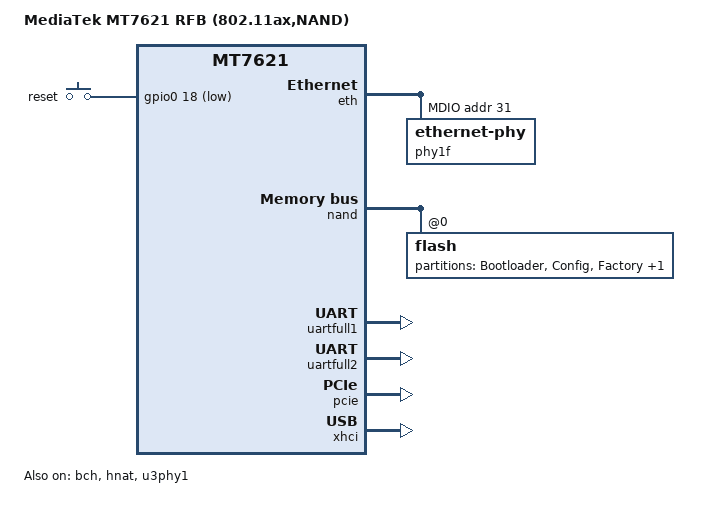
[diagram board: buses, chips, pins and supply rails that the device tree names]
/dts-v1/;

#include "mt7621.dtsi"
#include <dt-bindings/input/input.h>

/ {
	compatible = "mediatek,mt7621-rfb-ax-nand", "mediatek,mt7621-soc";
	model = "MediaTek MT7621 RFB (802.11ax,NAND)";

	chosen {
		bootargs = "console=ttyS0,115200";
	};

	gpio-keys-polled {
		compatible = "gpio-keys-polled";
		#address-cells = <1>;
		#size-cells = <0>;
		poll-interval = <20>;

		reset {
			label = "reset";
			gpios = <&gpio0 18 1>;
			linux,code = <KEY_RESTART>;
		};
	};
};

&bch {
	status = "okay";
};

&eth {
        status = "okay";

        gmac0: mac@0 {
                compatible = "mediatek,eth-mac";
                reg = <0>;
                phy-mode = "trgmii";
                fixed-link {
                        speed = <1000>;
                        full-duplex;
                        pause;
                };
        };

        gmac1: mac@1 {
                compatible = "mediatek,eth-mac";
                reg = <1>;
                phy-mode = "rgmii";
                fixed-link {
                        speed = <1000>;
                        full-duplex;
                        pause;
                };
        };

        mdio: mdio-bus {
                #address-cells = <1>;
                #size-cells = <0>;

                phy1f: ethernet-phy@1f {
                        reg = <0x1f>;
                        phy-mode = "rgmii";
                };
        };
};

&gsw {
        mediatek,mdio = <&mdio>;
        mediatek,portmap = "llllw";
        mediatek,mcm;
	mt7530,direct-phy-access;

        resets = <&rstctrl 2>;
        reset-names = "mcm";

        port5: port@5 {
                compatible = "mediatek,mt753x-port";
                reg = <5>;
                phy-mode = "rgmii";
                fixed-link {
                        speed = <1000>;
                        full-duplex;
                };
        };

        port6: port@6 {
                compatible = "mediatek,mt753x-port";
                reg = <6>;
                phy-mode = "trgmii";
                fixed-link {
                        speed = <1000>;
                        full-duplex;
                };
        };

        mdio-bus {
                #address-cells = <1>;
                #size-cells = <0>;
        };
};

&hnat {
        mtketh-wan = "eth1";
        mtketh-ppd = "eth0";
	ext-devices = "rax0", "ra0", "rax1", "ra1", "rax2", "ra2", "rax3", "ra3", "apclix0", "apcli0";
        mtketh-max-gmac = <2>;
        status = "okay";
};

&nand {
	status = "okay";

	flash@0 {
		reg = <0>;
		nand-ecc-mode = "hw";
		partitions {
			compatible = "fixed-partitions";
			#address-cells = <1>;
			#size-cells = <1>;

			partition@0 {
				label = "Bootloader";
				reg = <0x00000 0x80000>;
				read-only;
			};

			partition@80000 {
				label = "Config";
				reg = <0x80000 0x80000>;
			};

			partition@100000 {
				label = "Factory";
				reg = <0x100000 0x80000>;
			};

			partition@180000 {
				label = "firmware";
				reg = <0x180000 0x7e60000>;
			};
		};
	};
};

&pinctrl {
	state_default: pinctrl0 {
		gpio {
			mtk,group = "i2c";
			mtk,function = "gpio";
		};

		uart2 {
			mtk,group = "uart2";
			mtk,function = "uart2";
		};

		uart3 {
			mtk,group = "uart3";
			mtk,function = "uart3";
		};
	};
};

&uartfull1 {
	status = "okay";
};

&uartfull2 {
	status = "okay";
};

&pcie {
	status = "okay";
};

&u3phy1 {
	status = "okay";
};

&xhci {
	status = "okay";
};
